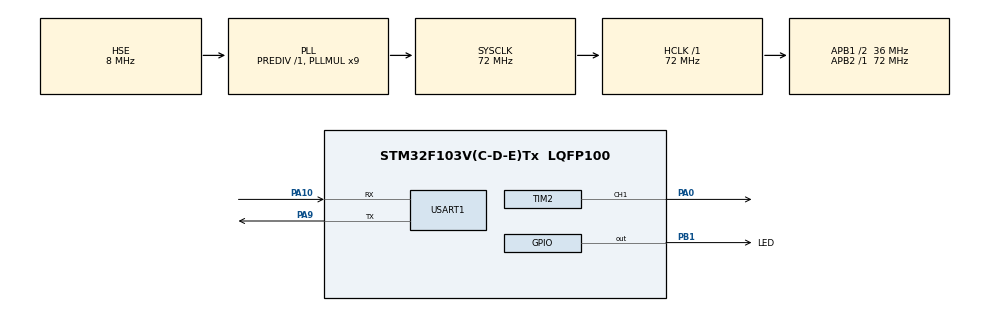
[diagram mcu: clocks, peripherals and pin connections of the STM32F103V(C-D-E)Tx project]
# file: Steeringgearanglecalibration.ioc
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Dma.Request0=USART1_RX
Dma.Request1=USART1_TX
Dma.USART1_RX.0.Direction=DMA_PERIPH_TO_MEMORY
Dma.USART1_RX.0.Instance=DMA1_Channel5
Dma.USART1_RX.0.MemDataAlignment=DMA_MDATAALIGN_BYTE
Dma.USART1_RX.0.MemInc=DMA_MINC_ENABLE
Dma.USART1_RX.0.Mode=DMA_CIRCULAR
Dma.USART1_RX.0.PeriphDataAlignment=DMA_PDATAALIGN_BYTE
Dma.USART1_RX.0.PeriphInc=DMA_PINC_DISABLE
Dma.USART1_RX.0.Priority=DMA_PRIORITY_LOW
Dma.USART1_TX.1.Direction=DMA_MEMORY_TO_PERIPH
Dma.USART1_TX.1.Instance=DMA1_Channel4
Dma.USART1_TX.1.MemDataAlignment=DMA_MDATAALIGN_BYTE
Dma.USART1_TX.1.MemInc=DMA_MINC_ENABLE
Dma.USART1_TX.1.Mode=DMA_NORMAL
Dma.USART1_TX.1.PeriphDataAlignment=DMA_PDATAALIGN_BYTE
Dma.USART1_TX.1.PeriphInc=DMA_PINC_DISABLE
Dma.USART1_TX.1.Priority=DMA_PRIORITY_LOW
Mcu.Family=STM32F1
Mcu.Name=STM32F103V(C-D-E)Tx
Mcu.Package=LQFP100
NVIC.DMA1_Channel4_IRQn=true\:1\:0\:true\:false\:true\:false\:true
NVIC.DMA1_Channel5_IRQn=true\:1\:0\:true\:false\:true\:false\:true
NVIC.PriorityGroup=NVIC_PRIORITYGROUP_4
NVIC.USART1_IRQn=true\:1\:0\:true\:false\:true\:true\:true
OSC_IN.Mode=HSE-External-Oscillator
OSC_IN.Signal=RCC_OSC_IN
OSC_OUT.Mode=HSE-External-Oscillator
OSC_OUT.Signal=RCC_OSC_OUT
PA0-WKUP.Signal=S_TIM2_CH1_ETR
PA10.GPIO_PuPd=GPIO_PULLDOWN
PA10.Mode=Asynchronous
PA10.Signal=USART1_RX
PA13.Mode=Serial_Wire
PA13.Signal=SYS_JTMS-SWDIO
PA14.Mode=Serial_Wire
PA14.Signal=SYS_JTCK-SWCLK
PA9.Mode=Asynchronous
PA9.Signal=USART1_TX
PB1.GPIO_Label=LED
PB1.Signal=GPIO_Output
ProjectManager.HeapSize=0x200
ProjectManager.StackSize=0x400
ProjectManager.TargetToolchain=MDK-ARM V5.32
RCC.AHBFreq_Value=72000000
RCC.APB1CLKDivider=RCC_HCLK_DIV2
RCC.APB1Freq_Value=36000000
RCC.APB1TimFreq_Value=72000000
RCC.APB2Freq_Value=72000000
RCC.APB2TimFreq_Value=72000000
RCC.HCLKFreq_Value=72000000
RCC.PLLMUL=RCC_PLL_MUL9
RCC.PLLSourceVirtual=RCC_PLLSOURCE_HSE
RCC.SYSCLKFreq_VALUE=72000000
RCC.SYSCLKSource=RCC_SYSCLKSOURCE_PLLCLK
RCC.USBFreq_Value=72000000
SH.S_TIM2_CH1_ETR.0=TIM2_CH1,PWM Generation1 CH1
TIM2.AutoReloadPreload=TIM_AUTORELOAD_PRELOAD_ENABLE
TIM2.Channel-PWM\ Generation1\ CH1=TIM_CHANNEL_1
TIM2.Period=19999
TIM2.Prescaler=71
USART1.VirtualMode=VM_ASYNC
board=custom

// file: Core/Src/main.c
/* USER CODE BEGIN Header */
/**
  ******************************************************************************
  * @file           : main.c
  * @brief          : Main program body
  ******************************************************************************
  * @attention
  *
  * Copyright (c) 2022 STMicroelectronics.
  * All rights reserved.
  *
  * This software is licensed under terms that can be found in the LICENSE file
  * in the root directory of this software component.
  * If no LICENSE file comes with this software, it is provided AS-IS.
  *
  ******************************************************************************
  */
/* USER CODE END Header */
#include "main.h"
#include "dma.h"
#include "tim.h"
#include "usart.h"
#include "gpio.h"

/* USER CODE BEGIN Includes */
#include <stdio.h>
#include <stdlib.h>
#include <string.h>
//#include <math.h>
/* USER CODE END Includes */

/* USER CODE BEGIN PV */

int memv_i = 0;
int PWM_DARK = 970;
int PWM_REFERENCE = 1200;
int PWM_SAMPLE = 770;
int PWM_Any = 0;

uint8_t Dark_Angle[] = "dark";
uint8_t Ref_Angle[] = "ref";
uint8_t Sam_Angle[] = "sam";
uint8_t Any_Angle[] = "any";

uint8_t PWM_OK[] = "PWM IS OK";
uint8_t PWMBUFFER[4] ;

/* USER CODE END PV */

void SystemClock_Config(void);

int main(void)
{

  /* MCU Configuration--------------------------------------------------------*/

  /* Reset of all peripherals, Initializes the Flash interface and the Systick. */
  HAL_Init();

  /* USER CODE BEGIN Init */
  memset(DATACACHE1,0,USART1BUFFERSIZE);
  /* USER CODE END Init */

  /* Configure the system clock */
  SystemClock_Config();

  /* Initialize all configured peripherals */
  MX_GPIO_Init();
  MX_DMA_Init();
  MX_TIM2_Init();
  MX_USART1_UART_Init();
  /* USER CODE BEGIN 2 */
  STM_Init();
  /* USER CODE END 2 */

  /* Infinite loop */
  /* USER CODE BEGIN WHILE */
  while (1)
  {
    HAL_GPIO_TogglePin(GPIOB,LED_Pin);
    HAL_Delay(40);

    if ( memcmp(DATACACHE1,Dark_Angle,3) == RESET )
    {
      PWM_PulseWidth(PWM_DARK);
      HAL_UART_Transmit(&huart1,PWM_OK,sizeof(PWM_OK),0xFFFF);

      memset(DATACACHE1,0,USART1BUFFERSIZE);
    }

    else if ( memcmp(DATACACHE1,Ref_Angle,3) == RESET )
    {
      PWM_PulseWidth(PWM_REFERENCE);
      HAL_UART_Transmit(&huart1,PWM_OK,sizeof(PWM_OK),0xFFFF);

      memset(DATACACHE1,0,USART1BUFFERSIZE);
    }

    else if ( memcmp(DATACACHE1,Sam_Angle,3) == RESET )
    {
      PWM_PulseWidth(PWM_SAMPLE);
      HAL_UART_Transmit(&huart1,PWM_OK,sizeof(PWM_OK),0xFFFF);

      memset(DATACACHE1,0,USART1BUFFERSIZE);
    }

    else if ( memcmp(DATACACHE1,Any_Angle,3) == RESET )
    {
      printf("Prepare to change the angle ...");
      memv(PWMBUFFER,DATACACHE1,1,4,4);
      PWM_Any = atoi(PWMBUFFER);
      HAL_Delay(500);
      printf("angle is : %d\r\n",PWM_Any);

      PWM_PulseWidth(PWM_Any);
      HAL_UART_Transmit(&huart1,PWM_OK,sizeof(PWM_OK),0xFFFF);

      memset(DATACACHE1,0,USART1BUFFERSIZE);
    }

    /* USER CODE END WHILE */

  }
}

void SystemClock_Config(void)
{
  RCC_OscInitTypeDef RCC_OscInitStruct = {0};
  RCC_ClkInitTypeDef RCC_ClkInitStruct = {0};

  /** Initializes the RCC Oscillators according to the specified parameters
  * in the RCC_OscInitTypeDef structure.
  */
  RCC_OscInitStruct.OscillatorType = RCC_OSCILLATORTYPE_HSE;
  RCC_OscInitStruct.HSEState = RCC_HSE_ON;
  RCC_OscInitStruct.HSEPredivValue = RCC_HSE_PREDIV_DIV1;
  RCC_OscInitStruct.HSIState = RCC_HSI_ON;
  RCC_OscInitStruct.PLL.PLLState = RCC_PLL_ON;
  RCC_OscInitStruct.PLL.PLLSource = RCC_PLLSOURCE_HSE;
  RCC_OscInitStruct.PLL.PLLMUL = RCC_PLL_MUL9;
  if (HAL_RCC_OscConfig(&RCC_OscInitStruct) != HAL_OK)
  {
    Error_Handler();
  }
  /** Initializes the CPU, AHB and APB buses clocks
  */
  RCC_ClkInitStruct.ClockType = RCC_CLOCKTYPE_HCLK|RCC_CLOCKTYPE_SYSCLK
                              |RCC_CLOCKTYPE_PCLK1|RCC_CLOCKTYPE_PCLK2;
  RCC_ClkInitStruct.SYSCLKSource = RCC_SYSCLKSOURCE_PLLCLK;
  RCC_ClkInitStruct.AHBCLKDivider = RCC_SYSCLK_DIV1;
  RCC_ClkInitStruct.APB1CLKDivider = RCC_HCLK_DIV2;
  RCC_ClkInitStruct.APB2CLKDivider = RCC_HCLK_DIV1;

  if (HAL_RCC_ClockConfig(&RCC_ClkInitStruct, FLASH_LATENCY_2) != HAL_OK)
  {
    Error_Handler();
  }
}

/* USER CODE BEGIN 4 */

/**
 * @brief Init the STM32
 *
 */
void STM_Init(void)
{
  /*--------------- Init USART DMA ---------------*/
  HAL_UART_Receive_DMA(&huart1,USART1BUFFER,USART1BUFFERSIZE);

  /*--------------- Init the PWM ---------------*/
  HAL_TIM_PWM_Start(&htim2,TIM_CHANNEL_1);
  PWM_PulseWidth(PWM_DARK);

}

/**
 * @brief Cut a specific length from the A array to the B array.
 *
 * @param pdata target array
 * @param ppdata truncated array
 * @param st1 start bit of the destination array
 * @param st2 start bit of truncated array
 * @param length The length of the truncated array
 */
void memv(uint8_t *pdata,uint8_t *ppdata,int st1,int st2,int length)
{
  for (memv_i=0;memv_i<length;memv_i++)
  {
    pdata[memv_i+st1-1] = ppdata[memv_i+st2-1];
  }
}

/* USER CODE END 4 */

void Error_Handler(void)
{
  __disable_irq();
  while (1)
  {
  }
}
